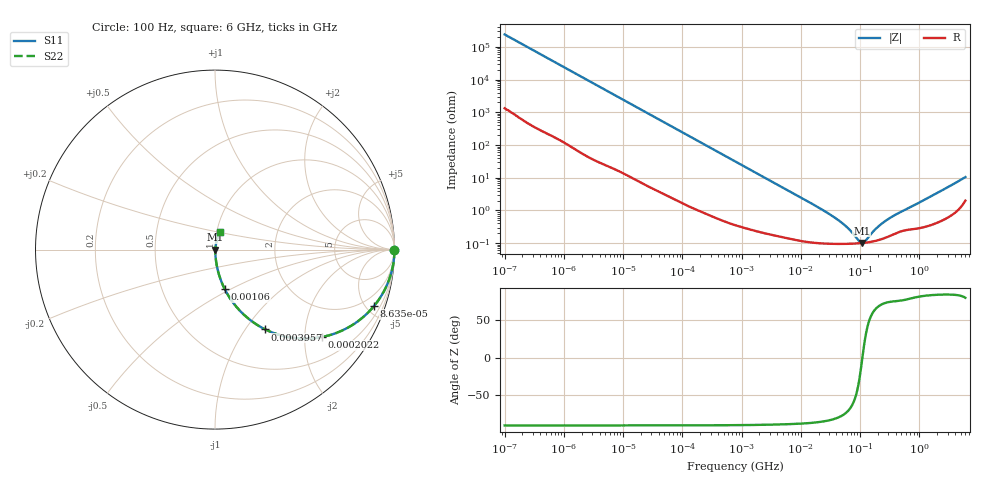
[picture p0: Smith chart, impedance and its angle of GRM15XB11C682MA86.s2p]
!Murata Part Number: GRM15XB11C682MA86
!These Parameters are Measured in Series Mode Connection
!Data Generated on Mar 30, 2021
!  o--ll--o
!Port1  Port2
!  o------o
!Operation Temp=25[degC], DC Bias Voltage=0[V]
!Freq. Start=100[Hz] Stop=6[GHz] 401[Steps]
# Hz S RI R 50
!Freq.(Hz) S11(Real) S11(Imag) S21(Real) S21(Imag) S12(Real) S12(Imag) S22(Real) S22(Imag)
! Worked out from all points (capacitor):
!   401 points, 100 Hz to 6 GHz, reference 50 ohm
!   read as one part in series: C = 6.65 nF near 109 Hz
!   lowest |Z| = 102 mohm at 106.7 MHz (marker M1)
!   series resonance near 109.5 MHz, so ESL is about 320 pH
!   S11 on the Smith chart (normalised r, x): 100 Hz: open; 86.35 kHz: 1.04, -5.66; 202.2 kHz: 1.02, -2.43; 395.7 kHz: 1.01, -1.24; 1.06 MHz: 1.01, -0.47; 6 GHz: 1.04, +0.21
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100  1 -0.000418  2.5e-06 0.000418  2.5e-06 0.000418  1 -0.000418
2008  0.9999 -0.00833  0.000108 0.00833  0.000108 0.00833  0.9999 -0.00833
12592  0.997 -0.0517  0.00298 0.0517  0.00298 0.0517  0.997 -0.0517
40335  0.9724 -0.1608  0.0276 0.1608  0.0276 0.1608  0.9724 -0.1608
86348  0.8874 -0.3128  0.1126 0.3128  0.1126 0.3128  0.8874 -0.3128
129199  0.7804 -0.4105  0.2196 0.4105  0.2196 0.4105  0.7804 -0.4105
202169  0.5945 -0.4872  0.4055 0.4872  0.4055 0.4872  0.5945 -0.4872
276587  0.4411 -0.4924  0.5589 0.4924  0.5589 0.4924  0.4411 -0.4924
395726  0.2803 -0.4447  0.7197 0.4447  0.7197 0.4447  0.2803 -0.4447
774597  0.0947 -0.2872  0.9053 0.2872  0.9053 0.2872  0.0947 -0.2872
1059725  0.0541 -0.2198  0.9459 0.2198  0.9459 0.2198  0.0541 -0.2198
3245845  0.00759 -0.0759  0.9924 0.0759  0.9924 0.0759  0.00759 -0.0759
1.555665e7  0.00129 -0.0159  0.9987 0.0159  0.9987 0.0159  0.00129 -0.0159
4.764863e7  0.000967 -0.00429  0.999 0.00429  0.999 0.00429  0.000967 -0.00429
6.518806e7  0.000964 -0.0025  0.999 0.0025  0.999 0.0025  0.000964 -0.0025
9.753859e7  0.000994 -0.000533  0.999 0.000533  0.999 0.000533  0.000994 -0.000533
1.066761e8  0.00101 -0.000121  0.999 0.000121  0.999 0.000121  0.00101 -0.000121
1.220122e8  0.00103 0.000496  0.999 -0.000496  0.999 -0.000496  0.00103 0.000496
1.909225e8  0.00121 0.00265  0.9988 -0.00265  0.9988 -0.00265  0.00121 0.00265
3.124326e8  0.00167 0.0055  0.9983 -0.0055  0.9983 -0.0055  0.00167 0.0055
1.873145e9  0.00499 0.0316  0.995 -0.0316  0.995 -0.0316  0.00499 0.0316
6e9  0.0295 0.098  0.9705 -0.098  0.9705 -0.098  0.0295 0.098
